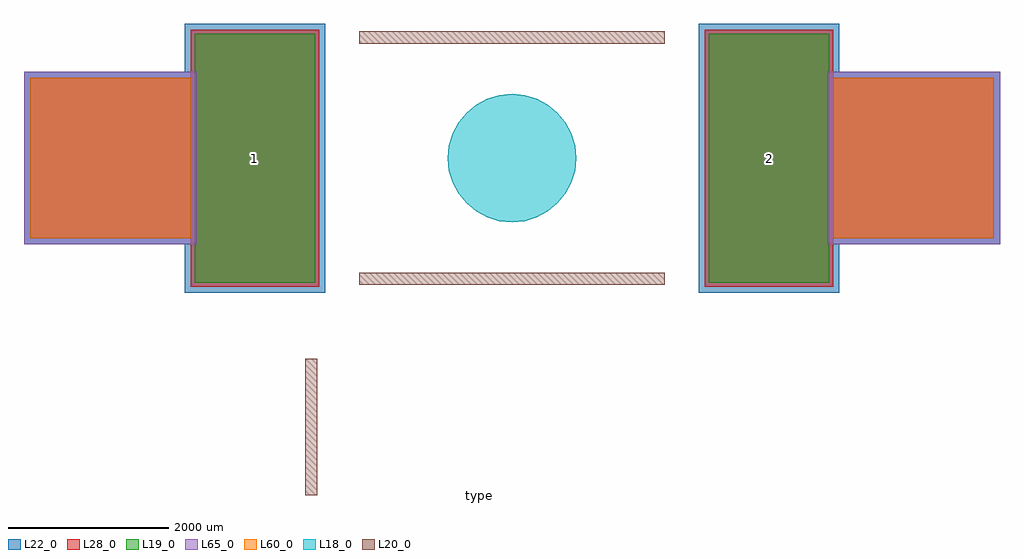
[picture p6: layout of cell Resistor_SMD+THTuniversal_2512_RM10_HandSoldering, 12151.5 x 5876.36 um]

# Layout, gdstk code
import gdstk
lib = gdstk.Library(unit=1e-6, precision=1e-09)
def R(c, l, rs):  # rectangles x0, y0, x1, y1
    for r in rs: c.add(gdstk.rectangle(r[:2], r[2:], *l))
def P(c, l, *ps):  # polygons
    for p in ps: c.add(gdstk.Polygon(p, *l))
L18_0 = (18, 0)
L19_0 = (19, 0)
L20_0 = (20, 0)
L22_0 = (22, 0)
L28_0 = (28, 0)
L60_0 = (60, 0)
L65_0 = (65, 0)

resistor_smd_thtuniversa = lib.new_cell('Resistor_SMD+THTuniversal_2512_RM10_HandSoldering')
P(resistor_smd_thtuniversa, L18_0, [(200.66,0),(196.804,39.147),(185.386,76.789),(166.843,111.481),(141.888,141.888),(111.481,166.843),(76.789,185.386),(39.147,196.804),(0,200.66),(-39.147,196.804),(-76.789,185.386),(-111.481,166.843),(-141.888,141.888),(-166.843,111.481),(-185.386,76.789),(-196.804,39.147),(-200.66,0),(-196.804,-39.147),(-185.386,-76.789),(-166.843,-111.481),(-141.888,-141.888),(-111.481,-166.843),(-76.789,-185.386),(-39.147,-196.804),(0,-200.66),(39.147,-196.804),(76.789,-185.386),(111.481,-166.843),(141.888,-141.888),(166.843,-111.481),(185.386,-76.789),(196.804,-39.147)],
  [(500.38,0),(490.765,97.619),(462.291,191.487),(416.051,277.996),(353.822,353.822),(277.996,416.051),(191.487,462.291),(97.619,490.765),(0,500.38),(-97.619,490.765),(-191.487,462.291),(-277.996,416.051),(-353.822,353.822),(-416.051,277.996),(-462.291,191.487),(-490.765,97.619),(-500.38,0),(-490.765,-97.619),(-462.291,-191.487),(-416.051,-277.996),(-353.822,-353.822),(-277.996,-416.051),(-191.487,-462.291),(-97.619,-490.765),(0,-500.38),(97.619,-490.765),(191.487,-462.291),(277.996,-416.051),(353.822,-353.822),(416.051,-277.996),(462.291,-191.487),(490.765,-97.619)],
  [(800.1,0),(784.726,156.092),(739.196,306.185),(665.259,444.512),(565.756,565.756),(444.512,665.259),(306.185,739.196),(156.092,784.726),(0,800.1),(-156.092,784.726),(-306.185,739.196),(-444.512,665.259),(-565.756,565.756),(-665.259,444.512),(-739.196,306.185),(-784.726,156.092),(-800.1,0),(-784.726,-156.092),(-739.196,-306.185),(-665.259,-444.512),(-565.756,-565.756),(-444.512,-665.259),(-306.185,-739.196),(-156.092,-784.726),(0,-800.1),(156.092,-784.726),(306.185,-739.196),(444.512,-665.259),(565.756,-565.756),(665.259,-444.512),(739.196,-306.185),(784.726,-156.092)])
R(resistor_smd_thtuniversa, L19_0, [(-3950.5,-1550.2,-2450.3,1550.2), (2450.3,-1550.2,3950.5,1550.2)])
R(resistor_smd_thtuniversa, L22_0, [(-4075.5,-1675.2,-2325.3,1675.2), (2325.3,-1675.2,4075.5,1675.2), (-6075.75,-1074.49,-3926.77,1074.49), (3926.77,-1074.49,6075.75,1074.49)])
R(resistor_smd_thtuniversa, L28_0, [(-4000.5,-1600.2,-2400.3,1600.2), (2400.3,-1600.2,4000.5,1600.2), (-6000.75,-999.49,-4001.77,999.49), (4001.77,-999.49,6000.75,999.49)])
R(resistor_smd_thtuniversa, L60_0, [(-6000.75,-999.49,-4001.77,999.49), (4001.77,-999.49,6000.75,999.49)])
R(resistor_smd_thtuniversa, L65_0, [(-6075.75,-1074.49,-3926.77,1074.49), (3926.77,-1074.49,6075.75,1074.49)])
resistor_smd_thtuniversa.add(gdstk.FlexPath([(-2499.36,-2499.36),(-2499.36,-4201.16)], 149.998, ends="flush", simple_path=True, layer=20, datatype=0))  # L20_0
resistor_smd_thtuniversa.add(gdstk.FlexPath([(1899.92,1501.14),(-1899.92,1501.14)], 149.998, ends="flush", simple_path=True, layer=20, datatype=0))  # L20_0
resistor_smd_thtuniversa.add(gdstk.FlexPath([(1899.92,-1501.14),(-1899.92,-1501.14)], 149.998, ends="flush", simple_path=True, layer=20, datatype=0))  # L20_0
resistor_smd_thtuniversa.add(gdstk.Label('2', (3200.4,0), layer=28, texttype=0))
resistor_smd_thtuniversa.add(gdstk.Label('1', (-3200.4,0), layer=28, texttype=0))
resistor_smd_thtuniversa.add(gdstk.Label('type', (-398.78,-4201.16), layer=9, texttype=0))
resistor_smd_thtuniversa.add(gdstk.Label('devicename', (99.06,3098.8), layer=9, texttype=0))

lib.write_gds('Resistor_SMD_THTuniversal_2512_RM10_HandSoldering.gds')
